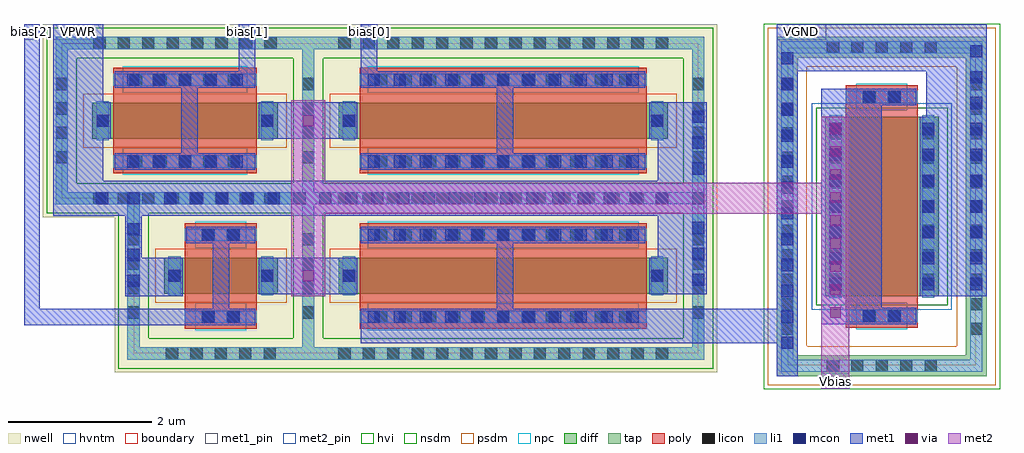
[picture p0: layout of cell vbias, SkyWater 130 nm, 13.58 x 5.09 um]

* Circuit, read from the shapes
.subckt vbias VGND VPWR bias[0] bias[1] bias[2]
XM1 VGND n1 n1 VGND sky130_fd_pr__nfet_g5v0d10v5 w=2.5 l=1
XM2 n1 bias[1] VPWR VPWR sky130_fd_pr__pfet_01v8 w=0.5 l=2
XM3 n1 bias[2] VPWR VPWR sky130_fd_pr__pfet_01v8 w=0.5 l=1
XM4 VPWR VGND n1 VPWR sky130_fd_pr__pfet_01v8 w=0.5 l=4
XM5 VPWR bias[0] n1 VPWR sky130_fd_pr__pfet_01v8 w=0.5 l=4
.ends

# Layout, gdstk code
import gdstk
lib = gdstk.Library(unit=1e-6, precision=1e-09)
def R(c, l, rs):  # rectangles x0, y0, x1, y1
    for r in rs: c.add(gdstk.rectangle(r[:2], r[2:], *l))
def A(c, l, x, y, w, h, nx, ny, dx, dy):  # array of equal rectangles
    R(c, l, [(x+i*dx, y+j*dy, x+i*dx+w, y+j*dy+h) for i in range(nx) for j in range(ny)])
nwell = (64, 20)
diff = (65, 20)
tap = (65, 44)
poly = (66, 20)
licon = (66, 44)
li1 = (67, 20)
mcon = (67, 44)
met1_pin = (68, 16)
met1 = (68, 20)
via = (68, 44)
met2_pin = (69, 16)
met2 = (69, 20)
hvi = (75, 20)
nsdm = (93, 44)
psdm = (94, 20)
npc = (95, 20)
hvntm = (125, 20)
boundary = (235, 4)

sky130_fd_pr__pfet_01v8_ = lib.new_cell('sky130_fd_pr__pfet_01v8_B3DYZW')
R(sky130_fd_pr__pfet_01v8_, nwell, [(-1.48,-1.345,1.48,1.345)])
R(sky130_fd_pr__pfet_01v8_, diff, [(-0.79,-0.25,0.79,0.25)])
R(sky130_fd_pr__pfet_01v8_, tap, [(-1.3,-1.165,1.3,-0.995), (-1.3,-0.995,-1.13,0.995), (1.13,-0.995,1.3,0.995), (-1.3,0.995,1.3,1.165)])
R(sky130_fd_pr__pfet_01v8_, poly, [(-0.5,-0.735,0.5,0.735)])
A(sky130_fd_pr__pfet_01v8_, licon, -0.765, -1.165, 0.17, 0.17, 5, 1, 0.34, 0)
A(sky130_fd_pr__pfet_01v8_, licon, -1.3, -0.595, 0.17, 0.17, 1, 4, 0, 0.34)
A(sky130_fd_pr__pfet_01v8_, licon, 1.13, -0.595, 0.17, 0.17, 1, 4, 0, 0.34)
R(sky130_fd_pr__pfet_01v8_, licon, [(-0.255,-0.655,-0.085,-0.485), (0.085,-0.655,0.255,-0.485), (-0.73,-0.085,-0.56,0.085), (0.56,-0.085,0.73,0.085), (-0.255,0.485,-0.085,0.655), (0.085,0.485,0.255,0.655)])
R(sky130_fd_pr__pfet_01v8_, li1, [(-1.3,-1.165,1.3,-0.995), (-1.3,-0.995,-1.13,0.995), (1.13,-0.995,1.3,0.995), (-0.5,-0.655,0.5,-0.485), (-0.73,-0.27,-0.56,0.27), (0.56,-0.27,0.73,0.27), (-0.5,0.485,0.5,0.655), (-1.3,0.995,1.3,1.165)])
R(sky130_fd_pr__pfet_01v8_, mcon, [(-0.265,-0.655,-0.095,-0.485), (0.095,-0.655,0.265,-0.485), (-0.73,-0.085,-0.56,0.085), (0.56,-0.085,0.73,0.085), (-0.265,0.485,-0.095,0.655), (0.095,0.485,0.265,0.655)])
R(sky130_fd_pr__pfet_01v8_, met1, [(-0.48,-0.685,0.48,-0.455), (-0.76,-0.25,-0.53,0.25), (0.53,-0.25,0.76,0.25), (-0.48,0.455,0.48,0.685)])
R(sky130_fd_pr__pfet_01v8_, nsdm, [(-1.425,-1.29,1.425,-0.87), (-1.425,-0.87,-1.005,0.87), (1.005,-0.87,1.425,0.87), (-1.425,0.87,1.425,1.29)])
R(sky130_fd_pr__pfet_01v8_, psdm, [(-0.915,-0.375,0.915,0.375)])
R(sky130_fd_pr__pfet_01v8_, npc, [(-0.355,-0.755,0.355,-0.385), (-0.355,0.385,0.355,0.755)])
R(sky130_fd_pr__pfet_01v8_, boundary, [(-1.215,-1.08,1.215,1.08)])

c_sky130_fd_pr__pfet_01v8_ = lib.new_cell('sky130_fd_pr__pfet_01v8_8JDY5S')
R(c_sky130_fd_pr__pfet_01v8_, nwell, [(-1.98,-1.345,1.98,1.345)])
R(c_sky130_fd_pr__pfet_01v8_, diff, [(-1.29,-0.25,1.29,0.25)])
R(c_sky130_fd_pr__pfet_01v8_, tap, [(-1.8,-1.165,1.8,-0.995), (-1.8,-0.995,-1.63,0.995), (1.63,-0.995,1.8,0.995), (-1.8,0.995,1.8,1.165)])
R(c_sky130_fd_pr__pfet_01v8_, poly, [(-1,-0.735,1,0.735)])
A(c_sky130_fd_pr__pfet_01v8_, licon, -1.275, -1.165, 0.17, 0.17, 8, 2, 0.34, 2.16)
A(c_sky130_fd_pr__pfet_01v8_, licon, -0.765, -0.655, 0.17, 0.17, 5, 2, 0.34, 1.14)
A(c_sky130_fd_pr__pfet_01v8_, licon, -1.8, -0.595, 0.17, 0.17, 1, 4, 0, 0.34)
A(c_sky130_fd_pr__pfet_01v8_, licon, 1.63, -0.595, 0.17, 0.17, 1, 4, 0, 0.34)
R(c_sky130_fd_pr__pfet_01v8_, licon, [(-1.23,-0.085,-1.06,0.085), (1.06,-0.085,1.23,0.085)])
R(c_sky130_fd_pr__pfet_01v8_, li1, [(-1.8,-1.165,1.8,-0.995), (-1.8,-0.995,-1.63,0.995), (1.63,-0.995,1.8,0.995), (-1,-0.655,1,-0.485), (-1.23,-0.27,-1.06,0.27), (1.06,-0.27,1.23,0.27), (-1,0.485,1,0.655), (-1.8,0.995,1.8,1.165)])
A(c_sky130_fd_pr__pfet_01v8_, mcon, -0.805, -0.655, 0.17, 0.17, 5, 2, 0.36, 1.14)
R(c_sky130_fd_pr__pfet_01v8_, mcon, [(-1.23,-0.085,-1.06,0.085), (1.06,-0.085,1.23,0.085)])
R(c_sky130_fd_pr__pfet_01v8_, met1, [(-0.98,-0.685,0.98,-0.455), (-1.26,-0.25,-1.03,0.25), (1.03,-0.25,1.26,0.25), (-0.98,0.455,0.98,0.685)])
R(c_sky130_fd_pr__pfet_01v8_, nsdm, [(-1.925,-1.29,1.925,-0.87), (-1.925,-0.87,-1.505,0.87), (1.505,-0.87,1.925,0.87), (-1.925,0.87,1.925,1.29)])
R(c_sky130_fd_pr__pfet_01v8_, psdm, [(-1.415,-0.375,1.415,0.375)])
R(c_sky130_fd_pr__pfet_01v8_, npc, [(-0.865,-0.755,0.865,-0.385), (-0.865,0.385,0.865,0.755)])
R(c_sky130_fd_pr__pfet_01v8_, boundary, [(-1.715,-1.08,1.715,1.08)])

c_sky130_fd_pr__pfet_01v8__ = lib.new_cell('sky130_fd_pr__pfet_01v8_9JDYDD')
R(c_sky130_fd_pr__pfet_01v8__, nwell, [(-2.98,-1.345,2.98,1.345)])
R(c_sky130_fd_pr__pfet_01v8__, diff, [(-2.29,-0.25,2.29,0.25)])
R(c_sky130_fd_pr__pfet_01v8__, tap, [(-2.8,-1.165,2.8,-0.995), (-2.8,-0.995,-2.63,0.995), (2.63,-0.995,2.8,0.995), (-2.8,0.995,2.8,1.165)])
R(c_sky130_fd_pr__pfet_01v8__, poly, [(-2,-0.735,2,0.735)])
A(c_sky130_fd_pr__pfet_01v8__, licon, -2.295, -1.165, 0.17, 0.17, 14, 2, 0.34, 2.16)
A(c_sky130_fd_pr__pfet_01v8__, licon, -1.785, -0.655, 0.17, 0.17, 11, 2, 0.34, 1.14)
A(c_sky130_fd_pr__pfet_01v8__, licon, -2.8, -0.595, 0.17, 0.17, 1, 4, 0, 0.34)
A(c_sky130_fd_pr__pfet_01v8__, licon, 2.63, -0.595, 0.17, 0.17, 1, 4, 0, 0.34)
R(c_sky130_fd_pr__pfet_01v8__, licon, [(-2.23,-0.085,-2.06,0.085), (2.06,-0.085,2.23,0.085)])
R(c_sky130_fd_pr__pfet_01v8__, li1, [(-2.8,-1.165,2.8,-0.995), (-2.8,-0.995,-2.63,0.995), (2.63,-0.995,2.8,0.995), (-2,-0.655,2,-0.485), (-2.23,-0.27,-2.06,0.27), (2.06,-0.27,2.23,0.27), (-2,0.485,2,0.655), (-2.8,0.995,2.8,1.165)])
A(c_sky130_fd_pr__pfet_01v8__, mcon, -1.885, -0.655, 0.17, 0.17, 11, 2, 0.36, 1.14)
R(c_sky130_fd_pr__pfet_01v8__, mcon, [(-2.23,-0.085,-2.06,0.085), (2.06,-0.085,2.23,0.085)])
R(c_sky130_fd_pr__pfet_01v8__, met1, [(-1.98,-0.685,1.98,-0.455), (-2.26,-0.25,-2.03,0.25), (2.03,-0.25,2.26,0.25), (-1.98,0.455,1.98,0.685)])
R(c_sky130_fd_pr__pfet_01v8__, nsdm, [(-2.925,-1.29,2.925,-0.87), (-2.925,-0.87,-2.505,0.87), (2.505,-0.87,2.925,0.87), (-2.925,0.87,2.925,1.29)])
R(c_sky130_fd_pr__pfet_01v8__, psdm, [(-2.415,-0.375,2.415,0.375)])
R(c_sky130_fd_pr__pfet_01v8__, npc, [(-1.885,-0.755,1.885,-0.385), (-1.885,0.385,1.885,0.755)])
R(c_sky130_fd_pr__pfet_01v8__, boundary, [(-2.715,-1.08,2.715,1.08)])

sky130_fd_pr__nfet_g5v0d = lib.new_cell('sky130_fd_pr__nfet_g5v0d10v5_47AZYF')
R(sky130_fd_pr__nfet_g5v0d, diff, [(-0.79,-1.25,0.79,1.25)])
R(sky130_fd_pr__nfet_g5v0d, tap, [(-1.46,-2.36,1.46,-2.07), (-1.46,-2.07,-1.17,2.07), (1.17,-2.07,1.46,2.07), (-1.46,2.07,1.46,2.36)])
R(sky130_fd_pr__nfet_g5v0d, poly, [(-0.5,-1.69,0.5,1.69)])
A(sky130_fd_pr__nfet_g5v0d, licon, -0.765, -2.3, 0.17, 0.17, 5, 2, 0.34, 4.43)
A(sky130_fd_pr__nfet_g5v0d, licon, -1.4, -1.785, 0.17, 0.17, 1, 11, 0, 0.34)
A(sky130_fd_pr__nfet_g5v0d, licon, 1.23, -1.785, 0.17, 0.17, 1, 11, 0, 0.34)
A(sky130_fd_pr__nfet_g5v0d, licon, -0.73, -1.105, 0.17, 0.17, 1, 7, 0, 0.34)
A(sky130_fd_pr__nfet_g5v0d, licon, 0.56, -1.105, 0.17, 0.17, 1, 7, 0, 0.34)
R(sky130_fd_pr__nfet_g5v0d, licon, [(-0.255,-1.61,-0.085,-1.44), (0.085,-1.61,0.255,-1.44), (-0.255,1.44,-0.085,1.61), (0.085,1.44,0.255,1.61)])
R(sky130_fd_pr__nfet_g5v0d, li1, [(-1.4,-2.3,1.4,-2.13), (-1.4,-2.13,-1.23,2.13), (1.23,-2.13,1.4,2.13), (-0.5,-1.61,0.5,-1.44), (-0.73,-1.27,-0.56,1.27), (0.56,-1.27,0.73,1.27), (-0.5,1.44,0.5,1.61), (-1.4,2.13,1.4,2.3)])
A(sky130_fd_pr__nfet_g5v0d, mcon, -0.73, -1.165, 0.17, 0.17, 1, 7, 0, 0.36)
A(sky130_fd_pr__nfet_g5v0d, mcon, 0.56, -1.165, 0.17, 0.17, 1, 7, 0, 0.36)
R(sky130_fd_pr__nfet_g5v0d, mcon, [(-0.265,-1.61,-0.095,-1.44), (0.095,-1.61,0.265,-1.44), (-0.265,1.44,-0.095,1.61), (0.095,1.44,0.265,1.61)])
R(sky130_fd_pr__nfet_g5v0d, met1, [(-0.48,-1.64,0.48,-1.41), (-0.76,-1.25,-0.53,1.25), (0.53,-1.25,0.76,1.25), (-0.48,1.41,0.48,1.64)])
R(sky130_fd_pr__nfet_g5v0d, hvi, [(-1.645,-2.545,1.645,2.545)])
R(sky130_fd_pr__nfet_g5v0d, nsdm, [(-0.915,-1.375,0.915,1.375)])
R(sky130_fd_pr__nfet_g5v0d, psdm, [(-1.585,-2.485,1.585,-1.945), (-1.585,-1.945,-1.045,1.945), (1.045,-1.945,1.585,1.945), (-1.585,1.945,1.585,2.485)])
R(sky130_fd_pr__nfet_g5v0d, npc, [(-0.355,-1.71,0.355,-1.34), (-0.355,1.34,0.355,1.71)])
R(sky130_fd_pr__nfet_g5v0d, hvntm, [(-0.975,-1.435,0.975,1.435)])
R(sky130_fd_pr__nfet_g5v0d, boundary, [(-1.31,-2.21,1.31,2.21)])

vbias = lib.new_cell('vbias')
R(vbias, li1, [(10.54,0.41,10.71,4.84), (13.17,1.32,13.34,4.84), (1.44,1.35,1.61,2.57), (9.3,1.38,9.47,2.57), (0.92,2.57,9.47,2.74), (9.3,2.74,9.47,3.93)])
A(vbias, mcon, 10.54, 0.56, 0.17, 0.17, 1, 12, 0, 0.36)
A(vbias, mcon, 13.17, 1.375, 0.17, 0.17, 1, 10, 0, 0.36)
A(vbias, mcon, 1.44, 1.42, 0.17, 0.17, 1, 3, 0, 0.36)
A(vbias, mcon, 9.3, 1.435, 0.17, 0.17, 1, 3, 0, 0.36)
A(vbias, mcon, 1.95, 2.57, 0.17, 0.17, 20, 1, 0.36, 0)
A(vbias, mcon, 9.3, 2.985, 0.17, 0.17, 1, 3, 0, 0.36)
R(vbias, mcon, [(1,2.57,1.17,2.74), (1.44,2.57,1.61,2.74), (9.3,2.57,9.47,2.74)])
R(vbias, met1_pin, [(0,4.86,0.22,5.08), (0.41,4.86,1.1,5.08), (2.99,4.86,3.22,5.08), (4.69,4.86,4.92,5.08), (10.48,4.86,11.17,5.08)])
R(vbias, met1, [(10.48,0.18,10.77,0.64), (4.69,0.64,10.77,1.12), (0,0.89,3.22,1.12), (11.1,0.9,11.94,4.18), (0,1.12,0.22,5.08), (2.63,1.12,2.86,2.26), (6.58,1.12,6.81,2.26), (10.48,1.12,10.77,4.42), (1.41,1.29,2.21,1.83), (12.47,1.29,13.4,3.79), (3.27,1.32,4.64,1.83), (8.7,1.32,9.5,1.83), (1.41,1.83,1.64,2.41), (8.82,1.83,9.5,2.41), (0.41,2.41,9.5,2.9), (0.41,2.9,1.1,3.48), (8.82,2.9,9.5,3.48), (2.19,3.05,2.42,4.19), (6.58,3.05,6.81,4.42), (0.41,3.48,1.21,3.99), (3.27,3.48,4.64,3.99), (8.7,3.48,9.5,3.99), (12.56,3.79,13.4,4.42), (0.41,3.99,1.1,5.08), (1.26,4.19,3.22,4.42), (4.69,4.19,4.92,5.08), (2.99,4.42,3.22,5.08), (10.48,4.42,13.4,5.08)])
A(vbias, via, 11.22, 0.99, 0.15, 0.15, 1, 9, 0, 0.32)
R(vbias, via, [(3.88,1.5,4.03,1.65), (3.88,3.66,4.03,3.81)])
R(vbias, met2_pin, [(11.1,0,11.49,0.22)])
R(vbias, met2, [(11.1,0,11.49,2.44), (3.72,1.29,4.19,2.44), (3.72,2.44,11.49,2.87), (3.72,2.87,4.19,4.02), (11.1,2.87,11.49,3.79)])
vbias.add(gdstk.Reference(sky130_fd_pr__pfet_01v8_, (2.74,1.575)))
vbias.add(gdstk.Reference(c_sky130_fd_pr__pfet_01v8_, (2.24,3.735)))
vbias.add(gdstk.Reference(c_sky130_fd_pr__pfet_01v8__, (6.67,3.735)))
vbias.add(gdstk.Reference(c_sky130_fd_pr__pfet_01v8__, (6.67,1.575)))
vbias.add(gdstk.Reference(sky130_fd_pr__nfet_g5v0d, (11.94,2.54)))
vbias.add(gdstk.Label('VGND', (10.825,4.97), layer=68, texttype=5))
vbias.add(gdstk.Label('VPWR', (0.755,4.97), layer=68, texttype=5))
vbias.add(gdstk.Label('bias[2]', (0.11,4.97), layer=68, texttype=5))
vbias.add(gdstk.Label('bias[1]', (3.105,4.97), layer=68, texttype=5))
vbias.add(gdstk.Label('bias[0]', (4.805,4.97), layer=68, texttype=5))
vbias.add(gdstk.Label('Vbias', (11.295,0.11), layer=69, texttype=5))

lib.write_gds('vbias.gds')
